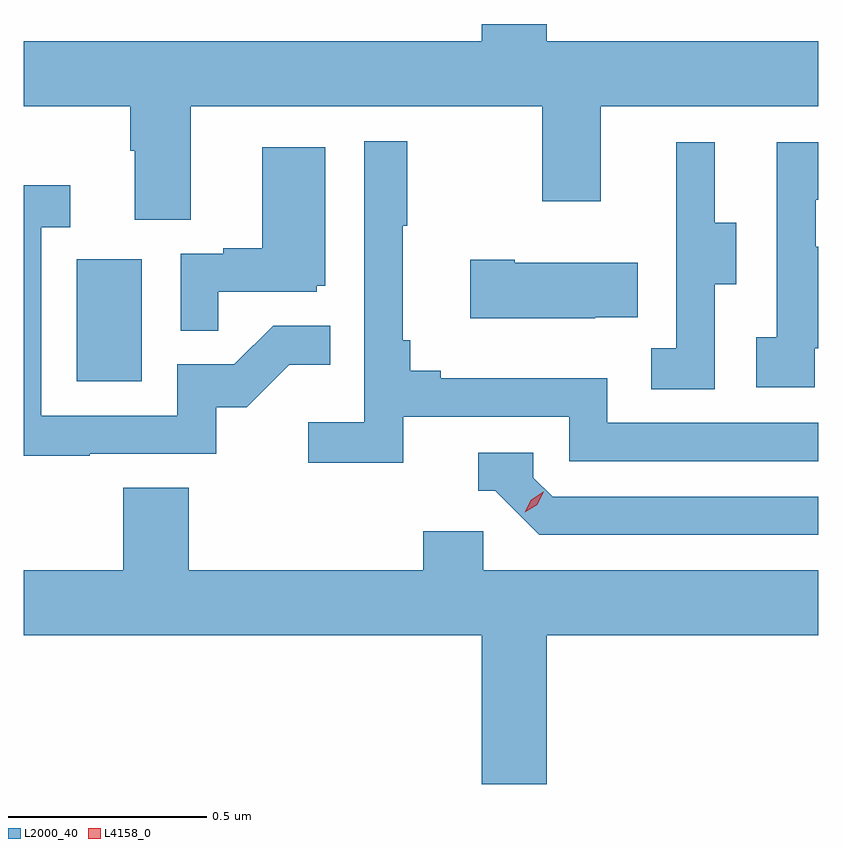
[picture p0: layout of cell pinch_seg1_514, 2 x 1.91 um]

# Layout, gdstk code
import gdstk
lib = gdstk.Library(unit=1e-6, precision=1e-09)
def R(c, l, rs):  # rectangles x0, y0, x1, y1
    for r in rs: c.add(gdstk.rectangle(r[:2], r[2:], *l))
def P(c, l, *ps):  # polygons
    for p in ps: c.add(gdstk.Polygon(p, *l))
L2000_40 = (2000, 40)
L4158_0 = (4158, 0)

pinch_seg1_514 = lib.new_cell('pinch_seg1_514')
R(pinch_seg1_514, L2000_40, [(1135.016,536.388,1135.18,536.695)])
P(pinch_seg1_514, L2000_40, [(1135.303,537.08),(1136.188,537.08),(1136.188,536.841),(1136.335,536.841),(1136.335,537.08),(1136.883,537.08),(1136.883,537.244),(1136.2,537.244),(1136.2,537.287),(1136.036,537.287),(1136.036,537.244),(1134.883,537.244),(1134.883,537.08),(1135.151,537.08),(1135.151,536.968),(1135.163,536.968),(1135.163,536.794),(1135.303,536.794)],
  [(1135.838,536.298),(1136.256,536.298),(1136.256,536.187),(1136.883,536.187),(1136.883,536.283),(1136.352,536.283),(1136.352,536.395),(1135.933,536.395),(1135.933,536.414),(1135.856,536.414),(1135.856,536.491),(1135.837,536.491),(1135.837,536.779),(1135.849,536.779),(1135.849,536.992),(1135.74,536.992),(1135.74,536.284),(1135.599,536.284),(1135.599,536.182),(1135.838,536.182)],
  [(1136.874,536.471),(1136.883,536.471),(1136.883,536.726),(1136.877,536.726),(1136.877,536.844),(1136.883,536.844),(1136.883,536.989),(1136.778,536.989),(1136.778,536.498),(1136.727,536.498),(1136.727,536.373),(1136.874,536.373)],
  [(1136.622,536.632),(1136.677,536.632),(1136.677,536.787),(1136.623,536.787),(1136.623,536.989),(1136.525,536.989),(1136.525,536.775),(1136.526,536.775),(1136.526,536.471),(1136.463,536.471),(1136.463,536.368),(1136.622,536.368)],
  [(1135.373,536.613),(1135.62,536.613),(1135.62,536.628),(1135.642,536.628),(1135.642,536.977),(1135.484,536.977),(1135.484,536.722),(1135.385,536.722),(1135.385,536.709),(1135.278,536.709),(1135.278,536.515),(1135.373,536.515)],
  [(1135.049,536.205),(1135.368,536.205),(1135.368,536.322),(1135.444,536.322),(1135.551,536.429),(1135.655,536.429),(1135.655,536.528),(1135.511,536.528),(1135.413,536.43),(1135.269,536.43),(1135.269,536.301),(1134.927,536.301),(1134.927,536.775),(1135,536.775),(1135,536.881),(1134.883,536.881),(1134.883,536.2),(1135.049,536.2)],
  [(1136.321,536.549),(1136.429,536.549),(1136.429,536.686),(1136.119,536.686),(1136.119,536.694),(1136.007,536.694),(1136.007,536.546),(1136.321,536.546)],
  [(1136.883,536.097),(1136.214,536.097),(1136.166,536.145),(1136.166,536.208),(1136.027,536.208),(1136.027,536.112),(1136.07,536.112),(1136.181,536.001),(1136.883,536.001)],
  [(1136.2,535.748),(1136.883,535.748),(1136.883,535.912),(1136.04,535.912),(1136.04,536.01),(1135.889,536.01),(1135.889,535.912),(1135.298,535.912),(1135.298,536.12),(1135.133,536.12),(1135.133,535.912),(1134.883,535.912),(1134.883,535.748),(1136.036,535.748),(1136.036,535.374),(1136.2,535.374)])
P(pinch_seg1_514, L4158_0, [(1136.144,536.058),(1136.144,536.058),(1136.16,536.09),(1136.191,536.109),(1136.192,536.109),(1136.192,536.109),(1136.175,536.077),(1136.144,536.058)])

lib.write_gds('pinch_seg1_514.gds')
